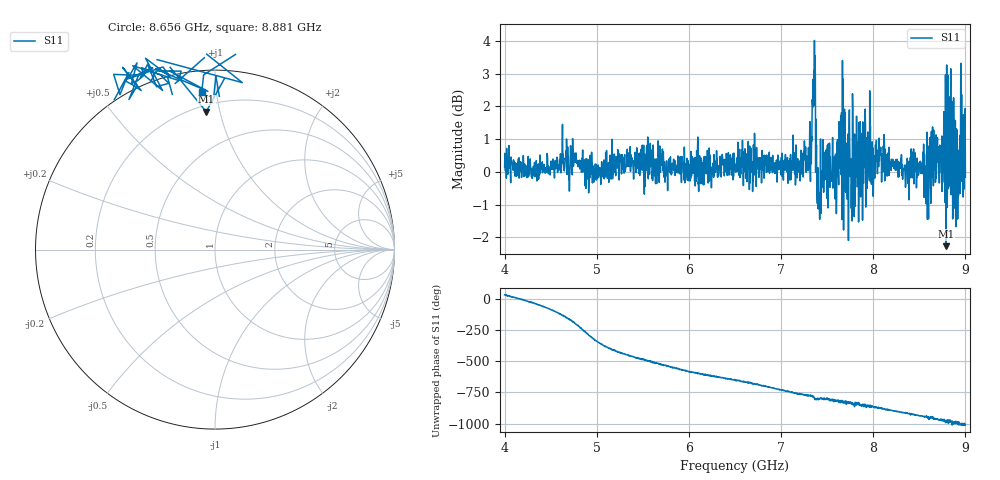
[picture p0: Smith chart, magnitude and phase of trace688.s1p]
! Created with skrf 1.8.0 (http://scikit-rf.org).
# Hz S RI R 50.0
!freq ReS11 ImS11
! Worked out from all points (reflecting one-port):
!   1601 points, 4 GHz to 9 GHz, reference 50 ohm
!   lowest |S11| = -2.3 dB at 8.791 GHz (marker M1), VSWR 7.69, Z = 12 + j45.4 ohm
!   phase of S11 starts at 32 deg and turns -1037 deg over the sweep
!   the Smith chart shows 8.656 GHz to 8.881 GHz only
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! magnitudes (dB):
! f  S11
! 4 GHz  0.1
! 4.625 GHz  0.8
! 4.988 GHz  0.0
! 5.25 GHz  0.3
! 5.875 GHz  0.0
! 6.5 GHz  0.1
! 7.125 GHz  0.3
! 7.303 GHz  0.1
! 7.356 GHz  3.1
! 7.375 GHz  0.0
! 7.4 GHz  0.1
! 7.412 GHz  -0.6
! 7.503 GHz  0.8
! 7.609 GHz  -0.1
! 7.65 GHz  1.6
! 7.709 GHz  0.9
! 7.75 GHz  -0.1
! 7.95 GHz  0.3
! 8.375 GHz  -0.1
! 8.438 GHz  0.7
! 8.575 GHz  -1.0
! 8.656 GHz  1.3
! 8.791 GHz  -2.3
! 8.834 GHz  1.6
! 8.875 GHz  0.8
! 8.919 GHz  -0.6
! 8.972 GHz  1.0
! 9 GHz  -0.2
